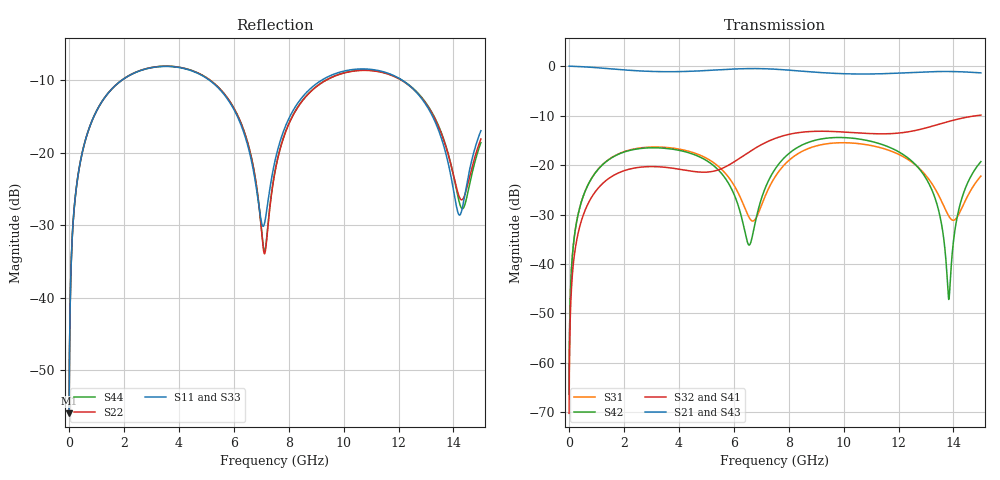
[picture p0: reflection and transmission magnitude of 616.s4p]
! Created with skrf 1.8.0 (http://scikit-rf.org).
# GHz S RI R 50.0
!freq ReS11 ImS11 ReS12 ImS12 ReS13 ImS13
! ReS14 ImS14
! ReS21 ImS21 ReS22 ImS22 ReS23 ImS23
! ReS24 ImS24
! ReS31 ImS31 ReS32 ImS32 ReS33 ImS33
! ReS34 ImS34
! ReS41 ImS41 ReS42 ImS42 ReS43 ImS43
! ReS44 ImS44
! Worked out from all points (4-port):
!   2499 points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, 5 MHz to 15 GHz, reference 50 ohm
!   strongest paths, dB at 5 MHz, 3.476 GHz, 7.19 GHz, 11.1 GHz, 15 GHz:
!     S21: 0.0, -1.1, -0.5, -1.6, -1.4
!     S43: 0.0, -1.1, -0.5, -1.6, -1.4
!     S32: -70.2, -20.4, -15.4, -13.7, -9.9
!     S41: -70.2, -20.5, -15.4, -13.7, -9.9
!     S42: -66.3, -16.6, -24.1, -15.3, -19.3
!     S31: -66.3, -16.4, -25.7, -16.2, -22.2
!   lowest |S11| = -56.0 dB at 5 MHz (marker M1), VSWR 1.00, Z = 50.1 + j0.0969 ohm
!   |S11| at or under -10 dB: start of sweep to 1.913 GHz; 5.127 GHz to 9.184 GHz (4.057 GHz wide, 56.7 % of centre); 12.15 GHz to end of sweep
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0.005  0.00127 0.000967  0.9987 -0.00247  6.19e-05 0.00048  -6.02e-05 -0.000303
       0.9987 -0.00247  0.00127 0.000967  -6.02e-05 -0.000303  6.18e-05 0.00048
       6.19e-05 0.00048  -6.02e-05 -0.000303  0.00127 0.000967  0.9987 -0.00247
       -6.02e-05 -0.000303  6.18e-05 0.00048  0.9987 -0.00247  0.00127 0.000967
0.4126719  0.0237 0.0833  0.9673 -0.2018  0.0109 0.0375  -0.00899 -0.0234
           0.9673 -0.2018  0.0237 0.0833  -0.00899 -0.0234  0.0106 0.0375
           0.0109 0.0375  -0.00899 -0.0234  0.0237 0.0833  0.9673 -0.2018
           -0.00899 -0.0234  0.0106 0.0375  0.9673 -0.2018  0.0237 0.0833
2.075865  0.2801 0.1778  0.5279 -0.7443  0.1282 0.0527  -0.0888 -0.00279
          0.5279 -0.7443  0.2812 0.1771  -0.0889 -0.00269  0.1243 0.0583
          0.1282 0.0527  -0.0889 -0.00269  0.2801 0.1779  0.5279 -0.7443
          -0.0888 -0.00279  0.1243 0.0583  0.5279 -0.7443  0.2813 0.1771
7.090454  0.0313 0.0027  -0.9394 -0.0599  -0.0184 0.0407  -0.00667 0.165
          -0.9394 -0.0599  0.02 -0.00615  -0.00517 0.1651  0.0278 0.0455
          -0.0184 0.0407  -0.00517 0.1651  0.0305 0.0026  -0.9394 -0.0601
          -0.00667 0.165  0.0278 0.0455  -0.9394 -0.0601  0.0208 -0.0061
11.89246  0.3038 -0.146  0.3066 0.7899  0.08 -0.1058  0.1715 -0.1169
          0.3066 0.7899  0.3081 -0.1277  0.1703 -0.1214  0.0828 -0.1148
          0.08 -0.1058  0.1703 -0.1214  0.3065 -0.1413  0.3061 0.7896
          0.1715 -0.1169  0.0828 -0.1148  0.3061 0.7896  0.3079 -0.1332
13.83076  0.049 -0.0652  0.8337 0.2883  -0.0295 -0.00779  0.086 -0.262
          0.8337 0.2883  0.0629 -0.0704  0.0794 -0.2642  0.00408 -0.00159
          -0.0295 -0.00779  0.0794 -0.2642  0.0567 -0.0662  0.8331 0.2896
          0.086 -0.262  0.00408 -0.00159  0.8331 0.2896  0.0577 -0.076
15  0.0832 0.1155  0.8354 -0.1784  0.0396 0.0664  -0.0817 -0.309
    0.8354 -0.1784  0.0804 0.0954  -0.0889 -0.3069  0.0946 0.0528
    0.0396 0.0664  -0.0889 -0.3069  0.0881 0.1088  0.8364 -0.1768
    -0.0817 -0.309  0.0946 0.0528  0.8364 -0.1768  0.0731 0.0924
